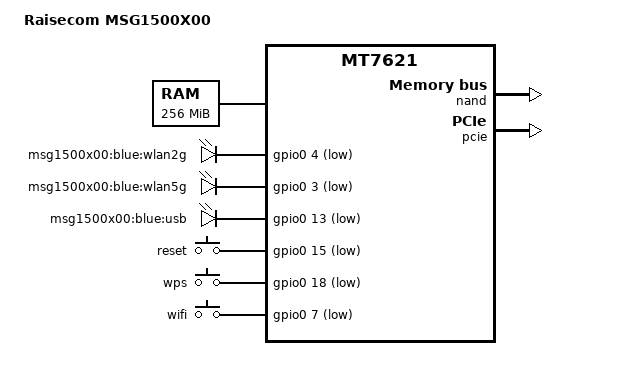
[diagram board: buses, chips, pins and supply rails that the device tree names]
/dts-v1/;

#include "mt7621.dtsi"

#include <dt-bindings/gpio/gpio.h>
#include <dt-bindings/input/input.h>

/ {
	compatible = "raisecom,msg1500x00", "mediatek,mt7621-soc";
	model = "Raisecom MSG1500X00";

	aliases {
		led-boot = &led_usb;
		led-failsafe = &led_usb;
		led-running = &led_usb;
		led-upgrade = &led_usb;
		label-mac-device = &ethernet;
	};

	memory@0 {
		device_type = "memory";
		reg = <0x0 0x10000000>;
	};

	chosen {
		bootargs = "console=ttyS0,115200";
	};

	leds {
		compatible = "gpio-leds";

		wlan2g {
			label = "msg1500x00:blue:wlan2g";
			gpios = <&gpio0 4 GPIO_ACTIVE_LOW>;
		};

		wlan5g {
			label = "msg1500x00:blue:wlan5g";
			gpios = <&gpio0 3 GPIO_ACTIVE_LOW>;
		};

		led_usb: usb {
			label = "msg1500x00:blue:usb";
			gpios = <&gpio0 13 GPIO_ACTIVE_LOW>;
			trigger-sources = <&xhci_ehci_port1>, <&ehci_port2>;
			linux,default-trigger = "usbport";
		};
	};

	keys {
		compatible = "gpio-keys-polled";
		poll-interval = <20>;

		reset {
			label = "reset";
			gpios = <&gpio0 15 GPIO_ACTIVE_LOW>;
			linux,code = <KEY_RESTART>;
		};

		wps {
			label = "wps";
			gpios = <&gpio0 18 GPIO_ACTIVE_LOW>;
			linux,code = <KEY_WPS_BUTTON>;
		};

		wifi {
			label = "wifi";
			gpios = <&gpio0 7 GPIO_ACTIVE_LOW>;
			linux,code = <KEY_RFKILL>;
		};
	};
};

&nand {
	status = "okay";

	partitions {
		compatible = "fixed-partitions";
		#address-cells = <1>;
		#size-cells = <1>;

		partition@0 {
			label = "u-boot";
			reg = <0x0 0x80000>;
			read-only;
		};

		partition@80000 {
			label = "u-boot-env";
			reg = <0x80000 0x80000>;
			read-only;
		};

		factory: partition@100000 {
			label = "factory";
			reg = <0x100000 0x40000>;
			read-only;
		};

		partition@140000 {
			label = "kernel";
			reg = <0x140000 0x400000>;
		};

		partition@540000 {
			label = "ubi";
			reg = <0x540000 0x7A00000>;
		};
	};
};

&pcie {
	status = "okay";
};

&pcie0 {
	mt76@0,0 {
		reg = <0x0000 0 0 0 0>;
		mediatek,mtd-eeprom = <&factory 0x0004>;
		/*led {
			led-sources = <3>;
			led-active-low;
		};*/
	};
};


&ethernet {
	mtd-mac-address = <&factory 0xe000>;
};


&pinctrl {
	state_default: pinctrl0 {
		gpio {
			ralink,group = "i2c", "uart2", "uart3", "wdt";
			ralink,function = "gpio";
		};
	};
};
